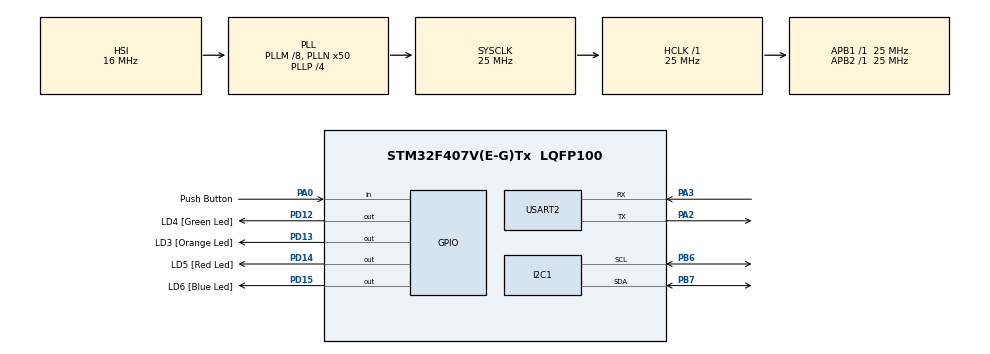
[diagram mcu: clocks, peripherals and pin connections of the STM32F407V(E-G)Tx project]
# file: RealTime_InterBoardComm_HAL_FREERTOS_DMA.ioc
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Dma.I2C1_RX.0.Direction=DMA_PERIPH_TO_MEMORY
Dma.I2C1_RX.0.FIFOMode=DMA_FIFOMODE_DISABLE
Dma.I2C1_RX.0.Instance=DMA1_Stream0
Dma.I2C1_RX.0.MemDataAlignment=DMA_MDATAALIGN_BYTE
Dma.I2C1_RX.0.MemInc=DMA_MINC_DISABLE
Dma.I2C1_RX.0.Mode=DMA_NORMAL
Dma.I2C1_RX.0.PeriphDataAlignment=DMA_PDATAALIGN_BYTE
Dma.I2C1_RX.0.PeriphInc=DMA_PINC_DISABLE
Dma.I2C1_RX.0.Priority=DMA_PRIORITY_MEDIUM
Dma.I2C1_TX.1.Direction=DMA_MEMORY_TO_PERIPH
Dma.I2C1_TX.1.FIFOMode=DMA_FIFOMODE_DISABLE
Dma.I2C1_TX.1.Instance=DMA1_Stream7
Dma.I2C1_TX.1.MemDataAlignment=DMA_MDATAALIGN_BYTE
Dma.I2C1_TX.1.MemInc=DMA_MINC_DISABLE
Dma.I2C1_TX.1.Mode=DMA_NORMAL
Dma.I2C1_TX.1.PeriphDataAlignment=DMA_PDATAALIGN_BYTE
Dma.I2C1_TX.1.PeriphInc=DMA_PINC_DISABLE
Dma.I2C1_TX.1.Priority=DMA_PRIORITY_MEDIUM
Dma.Request0=I2C1_RX
Dma.Request1=I2C1_TX
Dma.Request2=USART2_RX
Dma.Request3=USART2_TX
Dma.USART2_RX.2.Direction=DMA_PERIPH_TO_MEMORY
Dma.USART2_RX.2.FIFOMode=DMA_FIFOMODE_DISABLE
Dma.USART2_RX.2.Instance=DMA1_Stream5
Dma.USART2_RX.2.MemDataAlignment=DMA_MDATAALIGN_BYTE
Dma.USART2_RX.2.MemInc=DMA_MINC_ENABLE
Dma.USART2_RX.2.Mode=DMA_NORMAL
Dma.USART2_RX.2.PeriphDataAlignment=DMA_PDATAALIGN_BYTE
Dma.USART2_RX.2.PeriphInc=DMA_PINC_DISABLE
Dma.USART2_RX.2.Priority=DMA_PRIORITY_LOW
Dma.USART2_TX.3.Direction=DMA_MEMORY_TO_PERIPH
Dma.USART2_TX.3.FIFOMode=DMA_FIFOMODE_DISABLE
Dma.USART2_TX.3.Instance=DMA1_Stream6
Dma.USART2_TX.3.MemDataAlignment=DMA_MDATAALIGN_BYTE
Dma.USART2_TX.3.MemInc=DMA_MINC_ENABLE
Dma.USART2_TX.3.Mode=DMA_NORMAL
Dma.USART2_TX.3.PeriphDataAlignment=DMA_PDATAALIGN_BYTE
Dma.USART2_TX.3.PeriphInc=DMA_PINC_DISABLE
Dma.USART2_TX.3.Priority=DMA_PRIORITY_LOW
I2C1.I2C_Mode=I2C_Standard
Mcu.Family=STM32F4
Mcu.Name=STM32F407V(E-G)Tx
Mcu.Package=LQFP100
NVIC.DMA1_Stream0_IRQn=true\:0\:0\:false\:false\:true\:false\:true\:true
NVIC.DMA1_Stream5_IRQn=true\:0\:0\:false\:false\:true\:false\:true\:true
NVIC.DMA1_Stream6_IRQn=true\:0\:0\:false\:false\:true\:false\:true\:true
NVIC.DMA1_Stream7_IRQn=true\:0\:0\:false\:false\:true\:false\:true\:true
NVIC.I2C1_ER_IRQn=true\:0\:0\:false\:false\:true\:true\:true\:true
NVIC.I2C1_EV_IRQn=true\:0\:0\:false\:false\:true\:true\:true\:true
NVIC.PriorityGroup=NVIC_PRIORITYGROUP_4
NVIC.TIM6_DAC_IRQn=true\:15\:0\:false\:false\:true\:false\:true\:true
NVIC.TimeBase=TIM6_DAC_IRQn
NVIC.TimeBaseIP=TIM6
NVIC.USART2_IRQn=true\:0\:0\:false\:false\:true\:true\:true\:true
PA0-WKUP.GPIO_Label=Push Button
PA0-WKUP.GPIO_PuPd=GPIO_PULLDOWN
PA0-WKUP.Signal=GPIO_Input
PA2.Mode=Asynchronous
PA2.Signal=USART2_TX
PA3.Mode=Asynchronous
PA3.Signal=USART2_RX
PB6.Mode=I2C
PB6.Signal=I2C1_SCL
PB7.Mode=I2C
PB7.Signal=I2C1_SDA
PD12.GPIO_Label=LD4 [Green Led]
PD12.Signal=GPIO_Output
PD13.GPIO_Label=LD3 [Orange Led]
PD13.GPIO_PuPd=GPIO_NOPULL
PD13.GPIO_Speed=GPIO_SPEED_FREQ_LOW
PD13.Signal=GPIO_Output
PD14.GPIO_Label=LD5 [Red Led]
PD14.GPIO_PuPd=GPIO_NOPULL
PD14.GPIO_Speed=GPIO_SPEED_FREQ_LOW
PD14.Signal=GPIO_Output
PD15.GPIO_Label=LD6 [Blue Led]
PD15.Signal=GPIO_Output
ProjectManager.HeapSize=0x200
ProjectManager.StackSize=0x400
ProjectManager.TargetToolchain=STM32CubeIDE
RCC.48MHZClocksFreq_Value=14285714.285714285
RCC.AHBFreq_Value=25000000
RCC.APB1Freq_Value=25000000
RCC.APB1TimFreq_Value=25000000
RCC.APB2Freq_Value=25000000
RCC.APB2TimFreq_Value=25000000
RCC.CortexFreq_Value=25000000
RCC.HCLKFreq_Value=25000000
RCC.HSE_VALUE=8000000
RCC.HSI_VALUE=16000000
RCC.LSE_VALUE=32768
RCC.PLLM=8
RCC.PLLN=50
RCC.PLLP=RCC_PLLP_DIV4
RCC.PLLQ=7
RCC.SYSCLKFreq_VALUE=25000000
RCC.SYSCLKSource=RCC_SYSCLKSOURCE_PLLCLK
RCC.VCOOutputFreq_Value=100000000
USART2.VirtualMode=VM_ASYNC
VP_SYS_VS_tim6.Mode=TIM6
board=STM32F407G-DISC1

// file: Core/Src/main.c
/* USER CODE BEGIN Header */
/**
  ******************************************************************************
  * @file           : main.c
  * @brief          : Main program body
  ******************************************************************************
  * @attention
  *
  * Copyright (c) 2024 STMicroelectronics.
  * All rights reserved.
  *
  * This software is licensed under terms that can be found in the LICENSE file
  * in the root directory of this software component.
  * If no LICENSE file comes with this software, it is provided AS-IS.
  *
  ******************************************************************************
  */
/* USER CODE END Header */
#include "main.h"

/* USER CODE BEGIN Includes */
#include "FreeRTOS.h"
#include "task.h"
#include "semphr.h"
#include "stdio.h"
#include <string.h>
/* USER CODE END Includes */

/* USER CODE BEGIN PTD */

typedef struct{
  int16_t a_x;
  int16_t a_y;
  int16_t a_z;

  int16_t g_x;
  int16_t g_y;
  int16_t g_z;

  int16_t temp;
  int16_t padding;
  int longtitude;
  int latitude;
}readData;

typedef struct{
	uint8_t TxCmplt;
	uint8_t RxCmplt;
	uint8_t Handshake;
}flags_ESP;

typedef struct
{
	uint8_t ESP1_Size;
	uint8_t ESP2_Size;
}dataLength_ESP;

typedef struct{
	readData Data;
	flags_ESP Flags;
	uint8_t Size;
	uint16_t ADDR;
}ESP1_Ctrl;
typedef struct{
	readData Data;
	flags_ESP Flags;
	uint8_t Size;
	uint16_t ADDR;
}ESP2_Ctrl;

typedef struct{
	uint8_t TxCmplt;
	uint8_t RxCmplt;
	uint8_t Handshake;
}flags_UART;

typedef struct{
	readData* Data;
	flags_UART Flags;
	char *USART_Handshake_msg;
	char Rx_buff[128];
}UART_Ctrl;

typedef struct
{
	TaskHandle_t ESP1_DELIVERY;
	TaskHandle_t ESP2_DELIVERY;
}RTOS_task_struct;

typedef struct
{
	RTOS_task_struct RTOS_Tasks;
	SemaphoreHandle_t xMutex;
	SemaphoreHandle_t I2CMutex;
	SemaphoreHandle_t UARTMutex;
}GLOBAL_struct;

/* USER CODE END PTD */

/* USER CODE BEGIN PD */
#define DELAY 100U //in terms of miliseconds
#define COMM_REQLENGTH 0x17U
#define COMM_REQDATA 0x18U

#define ESP1_ADDR 0x51U
#define ESP2_ADDR 0x52U
#define UART_HANDSHAKE_MSG "handshake"
/* USER CODE END PD */

I2C_HandleTypeDef hi2c1;
DMA_HandleTypeDef hdma_i2c1_rx;
DMA_HandleTypeDef hdma_i2c1_tx;

UART_HandleTypeDef huart2;
DMA_HandleTypeDef hdma_usart2_rx;
DMA_HandleTypeDef hdma_usart2_tx;

/* USER CODE BEGIN PV */

#define UART_Text "DATA TO BE SENT OVER UART"
GLOBAL_struct GLOBAL;
ESP1_Ctrl ESP1;
ESP2_Ctrl ESP2;
UART_Ctrl UART2_Ctrl;
const uint8_t Req_Length=COMM_REQLENGTH;
const uint8_t Req_Data=COMM_REQDATA;
/* USER CODE END PV */

void SystemClock_Config(void);
static void MX_GPIO_Init(void);
static void MX_DMA_Init(void);
static void MX_I2C1_Init(void);
static void MX_USART2_UART_Init(void);
/* USER CODE BEGIN PFP */
void UART_Handshake(void);
void UART_ESP1_DELIVER(void *);
void UART_ESP2_DELIVER(void *);
void ESP1_Handshake(void);
void ESP2_Handshake(void);
void READI2C_ESP1(void);
void READI2C_ESP2(void);
void Init_ESPS(void);
void Init_UART(void);
void LED_Green(void *);
void LED_Orange(void *);
void LED_Red(void *);
void LED_Blue(void *);
void read_Button(void);
/* USER CODE END PFP */

int main(void)
{

  /* USER CODE BEGIN 1 */
  BaseType_t status;
  /* USER CODE END 1 */

  /* MCU Configuration--------------------------------------------------------*/

  /* Reset of all peripherals, Initializes the Flash interface and the Systick. */
  HAL_Init();

  /* Configure the system clock */
  SystemClock_Config();

  /* Initialize all configured peripherals */
  MX_GPIO_Init();
  MX_DMA_Init();
  MX_I2C1_Init();
  MX_USART2_UART_Init();
  /* USER CODE BEGIN 2 */

  Init_ESPS();
  HAL_GPIO_TogglePin(GPIOD, GPIO_PIN_12);		//WAIT UNTIL GREEN LIGHT TO CONNECT THE TX/RX LINE
  printf("PLEASE CONNECT TXRX LINE TO ARDUINO\n");
  while( ! HAL_GPIO_ReadPin(GPIOA, GPIO_PIN_0));	//Press the button to continue
  HAL_Delay(500);			//Blocking delay for 500 ms
  HAL_GPIO_TogglePin(GPIOD, GPIO_PIN_12); //TURN OFF THE GREEN LED
  Init_UART();
  HAL_GPIO_TogglePin(GPIOD, GPIO_PIN_12| GPIO_PIN_13|		//If UART Connection is established, all LEDS will light up until
		  GPIO_PIN_14| GPIO_PIN_15);					//config process of RTOS tasks are over

  GLOBAL.I2CMutex=xSemaphoreCreateMutex();
  GLOBAL.UARTMutex=xSemaphoreCreateMutex();
  configASSERT(GLOBAL.I2CMutex!=NULL);
  configASSERT(GLOBAL.UARTMutex!=NULL);
  status=xTaskCreate(UART_ESP1_DELIVER, "Task-1", 50, 0, 2, &GLOBAL.RTOS_Tasks.ESP1_DELIVERY);
  configASSERT(status);
  status=xTaskCreate(UART_ESP2_DELIVER, "Task-2", 50, 0, 2, &GLOBAL.RTOS_Tasks.ESP1_DELIVERY);
  configASSERT(status);
  HAL_GPIO_TogglePin(GPIOD, GPIO_PIN_12| GPIO_PIN_13|
		  GPIO_PIN_14| GPIO_PIN_15);
  vTaskStartScheduler();

  printf("Everything is good to go, press the button to continue\n");
  /* USER CODE END 2 */

  /* Infinite loop */
  while (1)
  {

  }
}

void SystemClock_Config(void)
{
  RCC_OscInitTypeDef RCC_OscInitStruct = {0};
  RCC_ClkInitTypeDef RCC_ClkInitStruct = {0};

  /** Configure the main internal regulator output voltage
  */
  __HAL_RCC_PWR_CLK_ENABLE();
  __HAL_PWR_VOLTAGESCALING_CONFIG(PWR_REGULATOR_VOLTAGE_SCALE1);

  /** Initializes the RCC Oscillators according to the specified parameters
  * in the RCC_OscInitTypeDef structure.
  */
  RCC_OscInitStruct.OscillatorType = RCC_OSCILLATORTYPE_HSI;
  RCC_OscInitStruct.HSIState = RCC_HSI_ON;
  RCC_OscInitStruct.HSICalibrationValue = RCC_HSICALIBRATION_DEFAULT;
  RCC_OscInitStruct.PLL.PLLState = RCC_PLL_ON;
  RCC_OscInitStruct.PLL.PLLSource = RCC_PLLSOURCE_HSI;
  RCC_OscInitStruct.PLL.PLLM = 8;
  RCC_OscInitStruct.PLL.PLLN = 50;
  RCC_OscInitStruct.PLL.PLLP = RCC_PLLP_DIV4;
  RCC_OscInitStruct.PLL.PLLQ = 7;
  if (HAL_RCC_OscConfig(&RCC_OscInitStruct) != HAL_OK)
  {
    Error_Handler();
  }

  /** Initializes the CPU, AHB and APB buses clocks
  */
  RCC_ClkInitStruct.ClockType = RCC_CLOCKTYPE_HCLK|RCC_CLOCKTYPE_SYSCLK
                              |RCC_CLOCKTYPE_PCLK1|RCC_CLOCKTYPE_PCLK2;
  RCC_ClkInitStruct.SYSCLKSource = RCC_SYSCLKSOURCE_PLLCLK;
  RCC_ClkInitStruct.AHBCLKDivider = RCC_SYSCLK_DIV1;
  RCC_ClkInitStruct.APB1CLKDivider = RCC_HCLK_DIV1;
  RCC_ClkInitStruct.APB2CLKDivider = RCC_HCLK_DIV1;

  if (HAL_RCC_ClockConfig(&RCC_ClkInitStruct, FLASH_LATENCY_0) != HAL_OK)
  {
    Error_Handler();
  }
}

static void MX_I2C1_Init(void)
{

  hi2c1.Instance = I2C1;
  hi2c1.Init.ClockSpeed = 100000;
  hi2c1.Init.DutyCycle = I2C_DUTYCYCLE_2;
  hi2c1.Init.OwnAddress1 = 0;
  hi2c1.Init.AddressingMode = I2C_ADDRESSINGMODE_7BIT;
  hi2c1.Init.DualAddressMode = I2C_DUALADDRESS_DISABLE;
  hi2c1.Init.OwnAddress2 = 0;
  hi2c1.Init.GeneralCallMode = I2C_GENERALCALL_DISABLE;
  hi2c1.Init.NoStretchMode = I2C_NOSTRETCH_DISABLE;
  if (HAL_I2C_Init(&hi2c1) != HAL_OK)
  {
    Error_Handler();
  }

}

static void MX_USART2_UART_Init(void)
{

  huart2.Instance = USART2;
  huart2.Init.BaudRate = 115200;
  huart2.Init.WordLength = UART_WORDLENGTH_8B;
  huart2.Init.StopBits = UART_STOPBITS_1;
  huart2.Init.Parity = UART_PARITY_NONE;
  huart2.Init.Mode = UART_MODE_TX_RX;
  huart2.Init.HwFlowCtl = UART_HWCONTROL_NONE;
  huart2.Init.OverSampling = UART_OVERSAMPLING_16;
  if (HAL_UART_Init(&huart2) != HAL_OK)
  {
    Error_Handler();
  }

}

static void MX_DMA_Init(void)
{

  /* DMA controller clock enable */
  __HAL_RCC_DMA1_CLK_ENABLE();

  /* DMA interrupt init */
  /* DMA1_Stream0_IRQn interrupt configuration */
  HAL_NVIC_SetPriority(DMA1_Stream0_IRQn, 0, 0);
  HAL_NVIC_EnableIRQ(DMA1_Stream0_IRQn);
  /* DMA1_Stream5_IRQn interrupt configuration */
  HAL_NVIC_SetPriority(DMA1_Stream5_IRQn, 0, 0);
  HAL_NVIC_EnableIRQ(DMA1_Stream5_IRQn);
  /* DMA1_Stream6_IRQn interrupt configuration */
  HAL_NVIC_SetPriority(DMA1_Stream6_IRQn, 0, 0);
  HAL_NVIC_EnableIRQ(DMA1_Stream6_IRQn);
  /* DMA1_Stream7_IRQn interrupt configuration */
  HAL_NVIC_SetPriority(DMA1_Stream7_IRQn, 0, 0);
  HAL_NVIC_EnableIRQ(DMA1_Stream7_IRQn);

}

static void MX_GPIO_Init(void)
{
  GPIO_InitTypeDef GPIO_InitStruct = {0};

  /* GPIO Ports Clock Enable */
  __HAL_RCC_GPIOA_CLK_ENABLE();
  __HAL_RCC_GPIOD_CLK_ENABLE();
  __HAL_RCC_GPIOB_CLK_ENABLE();

  /*Configure GPIO pin Output Level */
  HAL_GPIO_WritePin(GPIOD, LD4_Pin|LD3_Pin|LD5_Pin|LD6_Pin, GPIO_PIN_RESET);

  /*Configure GPIO pin : Push_Button_Pin */
  GPIO_InitStruct.Pin = Push_Button_Pin;
  GPIO_InitStruct.Mode = GPIO_MODE_INPUT;
  GPIO_InitStruct.Pull = GPIO_PULLDOWN;
  HAL_GPIO_Init(Push_Button_GPIO_Port, &GPIO_InitStruct);

  /*Configure GPIO pins : LD4_Pin LD3_Pin LD5_Pin LD6_Pin */
  GPIO_InitStruct.Pin = LD4_Pin|LD3_Pin|LD5_Pin|LD6_Pin;
  GPIO_InitStruct.Mode = GPIO_MODE_OUTPUT_PP;
  GPIO_InitStruct.Pull = GPIO_NOPULL;
  GPIO_InitStruct.Speed = GPIO_SPEED_FREQ_LOW;
  HAL_GPIO_Init(GPIOD, &GPIO_InitStruct);

}

/* USER CODE BEGIN 4 */

void Init_ESPS(void)
{
	  memset((void*)&ESP1,0,sizeof(ESP1));
	  memset((void*)&ESP2,0,sizeof(ESP2));

	  ESP1.ADDR=ESP1_ADDR;
	  ESP2.ADDR=ESP2_ADDR;

	  ESP1_Handshake();
	  ESP2_Handshake();
}

void Init_UART(void)
{
	memset((void*)&UART2_Ctrl,0,sizeof(UART2_Ctrl));
	UART2_Ctrl.USART_Handshake_msg=UART_HANDSHAKE_MSG;
	UART_Handshake();
}

void UART_ESP1_DELIVER(void *param)
{
	TickType_t xLastWakeTime = xTaskGetTickCount();
	while(1)
	{
		xSemaphoreTake( GLOBAL.I2CMutex, portMAX_DELAY);
		READI2C_ESP1();
		xSemaphoreTake( GLOBAL.UARTMutex, portMAX_DELAY);
		HAL_UART_Transmit_DMA(&huart2, (uint8_t *)&ESP1.Data, ESP1.Size);
		taskYIELD();
		vTaskDelayUntil(&xLastWakeTime,pdMS_TO_TICKS(30));
	}

}

void UART_ESP2_DELIVER(void *param)
{
	TickType_t xLastWakeTime = xTaskGetTickCount();
	while(1)
	{
		xSemaphoreTake( GLOBAL.I2CMutex, portMAX_DELAY);
		READI2C_ESP2();
		xSemaphoreTake( GLOBAL.UARTMutex, portMAX_DELAY);
		HAL_UART_Transmit_DMA(&huart2, (uint8_t *)&ESP2.Data, ESP2.Size);
		taskYIELD();
		vTaskDelayUntil(&xLastWakeTime,pdMS_TO_TICKS(30));
	}
}

void READI2C_ESP1(void)
{
			while(HAL_I2C_Master_Transmit_DMA(&hi2c1, ESP1.ADDR,(uint8_t *)&Req_Data,1)!=HAL_OK);
			while(HAL_I2C_Master_Receive_DMA(&hi2c1, ESP1.ADDR, (uint8_t *)&ESP1.Data, ESP1.Size)!=HAL_OK);
			if(ESP1.Data.longtitude<0 || ESP1.Data.latitude<0 || ESP1.Data.temp<0)
			{
				configASSERT(0);		//Code error
			}
}

void READI2C_ESP2(void)
{

			while(HAL_I2C_Master_Transmit_DMA(&hi2c1, ESP2.ADDR,(uint8_t *)&Req_Data,1)!=HAL_OK);
			while(HAL_I2C_Master_Receive_DMA(&hi2c1, ESP2.ADDR, (uint8_t *)&ESP2.Data, ESP2.Size)!=HAL_OK);
			if(ESP2.Data.longtitude<0 || ESP2.Data.latitude<0 || ESP2.Data.temp<0)
			{
				configASSERT(0);		//Code error
			}
}

void ESP1_Handshake(void)
{
		if(ESP1.Flags.Handshake==RESET)
		{
			while(ESP1.Flags.Handshake==RESET)
			{
				while(HAL_I2C_Master_Transmit_IT(&hi2c1, ESP1.ADDR, (uint8_t *)&Req_Length, 1)==HAL_BUSY);
				while(ESP1.Flags.TxCmplt!=SET);

				if(ESP1.Flags.TxCmplt==SET)
				{
					ESP1.Flags.Handshake=SET;
					printf("Handshake_ESP_1 achieved with ESP32 requesting length\n");
					ESP1.Flags.RxCmplt=RESET;
					while(HAL_I2C_Master_Receive_IT(&hi2c1, ESP1.ADDR, &ESP1.Size, 1)==HAL_BUSY);
					while(ESP1.Flags.RxCmplt!=SET);
					printf("Length set %d \n", ESP1.Size);
				}
				ESP1.Flags.TxCmplt=RESET;
			}
		}
		while(HAL_I2C_Master_Transmit_IT(&hi2c1, ESP1.ADDR, (uint8_t *)&Req_Data, 1)==HAL_BUSY);
		while(ESP1.Flags.TxCmplt!=SET);
		ESP1.Flags.TxCmplt=RESET;
}

void ESP2_Handshake(void)
{
		if(ESP2.Flags.Handshake==RESET)
		{
			while(ESP2.Flags.Handshake==RESET)
			{
				while(HAL_I2C_Master_Transmit_IT(&hi2c1, (uint16_t) ESP2.ADDR, (uint8_t *)&Req_Length, 1)==HAL_BUSY);
				while(ESP2.Flags.TxCmplt!=SET);

				if(ESP2.Flags.TxCmplt==SET)
				{
					ESP2.Flags.Handshake=SET;
					printf("Handshake_ESP_2 achieved with ESP32 requesting length\n");
					ESP2.Flags.RxCmplt=RESET;
					while(HAL_I2C_Master_Receive_IT(&hi2c1,(uint16_t) ESP2.ADDR,&ESP2.Size,1)==HAL_BUSY);
					while(ESP2.Flags.RxCmplt!=SET);
					printf("Length set %d \n", ESP2.Size);
				}
				ESP2.Flags.TxCmplt=RESET;
			}
		}
		while(HAL_I2C_Master_Transmit_IT(&hi2c1, (uint16_t) ESP2.ADDR, (uint8_t *)&Req_Data, 1)==HAL_BUSY);
		while(ESP2.Flags.TxCmplt!=SET);
		ESP2.Flags.TxCmplt=RESET;
}

void HAL_I2C_MasterTxCpltCallback(I2C_HandleTypeDef *hi2c)
{
	if(hi2c->Devaddress==0x51 && ESP1.Flags.Handshake==RESET)
	{
		ESP1.Flags.Handshake = SET;
		ESP1.Flags.TxCmplt=SET;
	}else if (hi2c->Devaddress==0x52 && ESP2.Flags.Handshake==RESET)
	{
		ESP2.Flags.Handshake = SET;
		ESP2.Flags.TxCmplt=SET;
	}
}

void HAL_I2C_MasterRxCpltCallback(I2C_HandleTypeDef *hi2c)
{
	if(hi2c->Devaddress==0x51 && ESP1.Flags.Handshake==RESET)
	{
		ESP1.Flags.Handshake = SET;
		ESP1.Flags.RxCmplt=SET;
	}else if (hi2c->Devaddress==0x52 && ESP2.Flags.Handshake==RESET)
	{
		ESP2.Flags.Handshake = SET;
		ESP2.Flags.RxCmplt=SET;
	}else if(ESP2.Flags.Handshake==SET && ESP1.Flags.Handshake==SET)
	{
		BaseType_t xHigherPriorityTaskWoken = pdFALSE;
		xSemaphoreGiveFromISR(GLOBAL.I2CMutex,&xHigherPriorityTaskWoken);
	}
}

void UART_Handshake(void)
{
	while(UART2_Ctrl.Flags.Handshake!=SET)
	{
		while(HAL_UART_Receive_IT(&huart2,(uint8_t *)UART2_Ctrl.Rx_buff,strlen(UART2_Ctrl.USART_Handshake_msg))==HAL_BUSY);

		while(HAL_UART_Transmit_IT(&huart2,(uint8_t*)UART2_Ctrl.USART_Handshake_msg,strlen(UART2_Ctrl.USART_Handshake_msg))==HAL_BUSY);
		//Send the msg indexed by cnt in blocking mode

		while(UART2_Ctrl.Flags.TxCmplt != SET);
		while(UART2_Ctrl.Flags.RxCmplt  != SET);
		if(!strcmp(UART2_Ctrl.Rx_buff,UART2_Ctrl.USART_Handshake_msg))
		{
			printf("USART_HANDSHAKE SUCCESS\n");
			UART2_Ctrl.Flags.Handshake=SET;

		}else
		{
			printf("USART_HANDSHAKE FAILED\n");
		}
		UART2_Ctrl.Flags.TxCmplt=RESET;
		UART2_Ctrl.Flags.RxCmplt=RESET;
	}
}

void HAL_UART_TxCpltCallback(UART_HandleTypeDef *huart)
{
  UNUSED(huart);
  if(UART2_Ctrl.Flags.Handshake!=SET)
  {
	  UART2_Ctrl.Flags.TxCmplt=SET;
  }else{
	  BaseType_t xHigherPriorityTaskWoken = pdFALSE;
	  xSemaphoreGiveFromISR(GLOBAL.UARTMutex ,&xHigherPriorityTaskWoken);
  }

}

void HAL_UART_RxCpltCallback(UART_HandleTypeDef *huart)
{
  UNUSED(huart);
  if(UART2_Ctrl.Flags.Handshake!=SET)
  {
	  UART2_Ctrl.Flags.RxCmplt=SET;
  }

}

/* USER CODE END 4 */

void HAL_TIM_PeriodElapsedCallback(TIM_HandleTypeDef *htim)
{
  if (htim->Instance == TIM6) {
    HAL_IncTick();
  }
}

void Error_Handler(void)
{
  __disable_irq();
  while (1)
  {
  }
}
